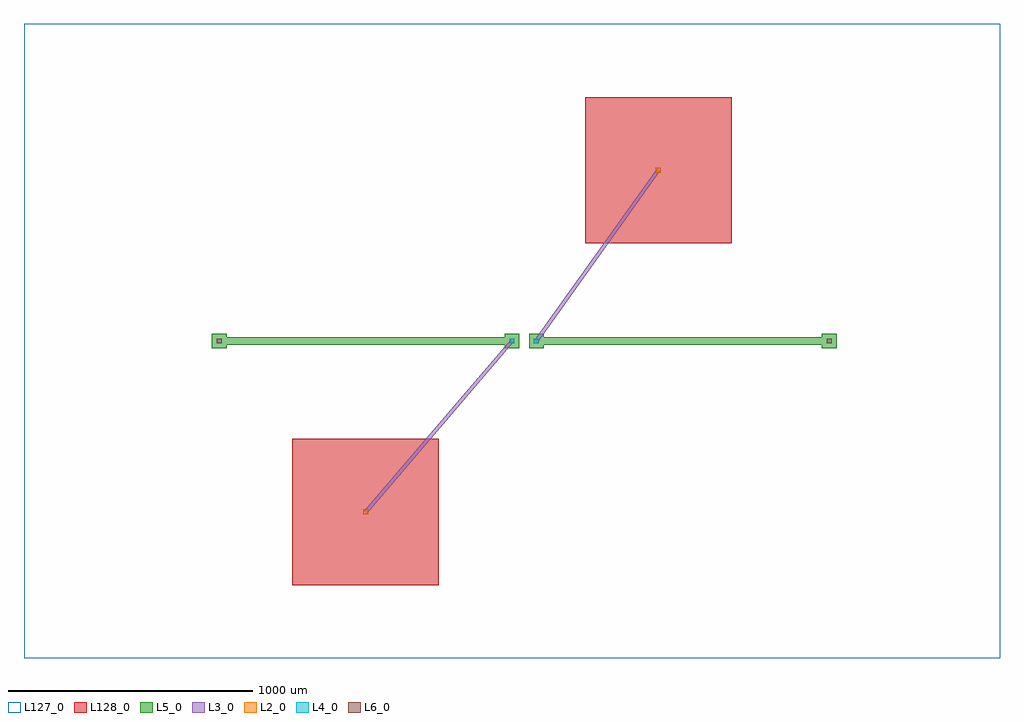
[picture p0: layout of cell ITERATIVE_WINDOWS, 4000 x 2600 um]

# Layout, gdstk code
import gdstk
lib = gdstk.Library(unit=1e-6, precision=1e-09)
def R(c, l, rs):  # rectangles x0, y0, x1, y1
    for r in rs: c.add(gdstk.rectangle(r[:2], r[2:], *l))
def P(c, l, *ps):  # polygons
    for p in ps: c.add(gdstk.Polygon(p, *l))
L2_0 = (2, 0)
L3_0 = (3, 0)
L4_0 = (4, 0)
L5_0 = (5, 0)
L6_0 = (6, 0)
L127_0 = (127, 0)
L128_0 = (128, 0)

iterative_windows = lib.new_cell('ITERATIVE_WINDOWS')
R(iterative_windows, L2_0, [(-610,-710,-590,-690), (590,690,610,710)])
R(iterative_windows, L4_0, [(-10,-10,10,10), (90,-10,110,10)])
P(iterative_windows, L5_0, [(-1170,-16),(-30,-16),(-30,-30),(30,-30),(30,30),(-30,30),(-30,16),(-1170,16),(-1170,30),(-1230,30),(-1230,-30),(-1170,-30)],
  [(130,-16),(1270,-16),(1270,-30),(1330,-30),(1330,30),(1270,30),(1270,16),(130,16),(130,30),(70,30),(70,-30),(130,-30)])
R(iterative_windows, L6_0, [(-1210,-10,-1190,10), (1290,-10,1310,10)])
R(iterative_windows, L127_0, [(-2000,-1300,2000,1300)])
R(iterative_windows, L128_0, [(-900,-1000,-300,-400), (300,400,900,1000)])
iterative_windows.add(gdstk.FlexPath([(-600,-700),(0,0)], 16, ends="flush", simple_path=True, layer=3, datatype=0))  # L3_0
iterative_windows.add(gdstk.FlexPath([(600,700),(100,0)], 16, ends="flush", simple_path=True, layer=3, datatype=0))  # L3_0

lib.write_gds('ITERATIVE_WINDOWS.gds')
